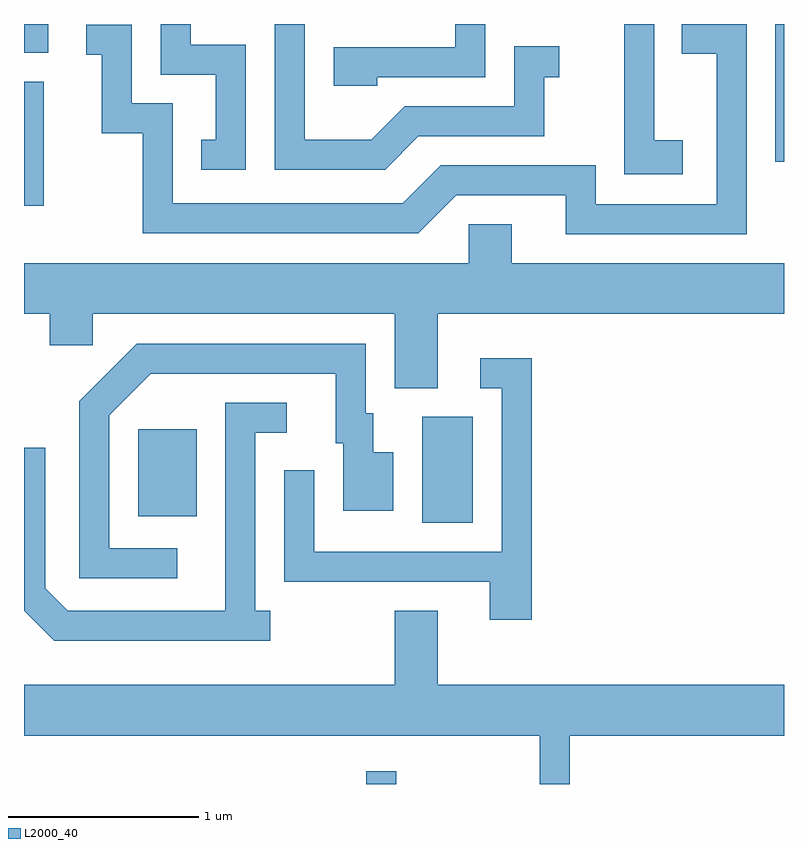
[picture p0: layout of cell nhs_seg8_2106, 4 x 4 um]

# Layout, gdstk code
import gdstk
lib = gdstk.Library(unit=1e-6, precision=1e-09)
def R(c, l, rs):  # rectangles x0, y0, x1, y1
    for r in rs: c.add(gdstk.rectangle(r[:2], r[2:], *l))
def P(c, l, *ps):  # polygons
    for p in ps: c.add(gdstk.Polygon(p, *l))
L2000_40 = (2000, 40)

nhs_seg8_2106 = lib.new_cell('nhs_seg8_2106')
R(nhs_seg8_2106, L2000_40, [(249.411,1878.342,249.569,1878.408), (249.706,1879.716,249.974,1880.274), (248.211,1879.751,248.519,1880.209), (247.611,1881.386,247.714,1882.039), (251.566,1881.616,251.611,1882.342), (247.611,1882.191,247.738,1882.342)])
P(nhs_seg8_2106, L2000_40, [(251.414,1882.342),(251.073,1882.342),(251.073,1882.186),(251.256,1882.186),(251.256,1881.394),(250.619,1881.394),(250.619,1881.599),(249.804,1881.599),(249.604,1881.399),(248.394,1881.399),(248.394,1881.924),(248.179,1881.924),(248.179,1882.339),(247.938,1882.339),(247.938,1882.181),(248.021,1882.181),(248.021,1881.766),(248.236,1881.766),(248.236,1881.241),(249.687,1881.241),(249.887,1881.441),(250.461,1881.441),(250.461,1881.236),(251.414,1881.236)],
  [(249.687,1881.751),(250.349,1881.751),(250.349,1882.061),(250.428,1882.061),(250.428,1882.224),(250.191,1882.224),(250.191,1881.909),(249.614,1881.909),(249.439,1881.734),(249.089,1881.734),(249.089,1882.342),(248.931,1882.342),(248.931,1881.576),(249.512,1881.576)],
  [(251.079,1881.729),(250.929,1881.729),(250.929,1882.342),(250.771,1882.342),(250.771,1881.551),(251.079,1881.551)],
  [(249.469,1882.061),(250.039,1882.061),(250.039,1882.342),(249.881,1882.342),(249.881,1882.219),(249.241,1882.219),(249.241,1882.016),(249.469,1882.016)],
  [(248.779,1882.234),(248.489,1882.234),(248.489,1882.342),(248.331,1882.342),(248.331,1882.076),(248.621,1882.076),(248.621,1881.734),(248.543,1881.734),(248.543,1881.576),(248.779,1881.576)],
  [(249.789,1880.816),(251.611,1880.816),(251.611,1881.084),(250.179,1881.084),(250.179,1881.289),(249.951,1881.289),(249.951,1881.084),(247.611,1881.084),(247.611,1880.816),(247.746,1880.816),(247.746,1880.651),(247.974,1880.651),(247.974,1880.816),(249.561,1880.816),(249.561,1880.426),(249.789,1880.426)],
  [(248.418,1879.584),(248.059,1879.584),(248.059,1880.284),(248.277,1880.501),(249.251,1880.501),(249.251,1880.136),(249.291,1880.136),(249.291,1879.781),(249.554,1879.781),(249.554,1880.089),(249.449,1880.089),(249.449,1880.294),(249.409,1880.294),(249.409,1880.659),(248.204,1880.659),(247.901,1880.357),(247.901,1879.426),(248.418,1879.426)],
  [(250.284,1880.584),(250.013,1880.584),(250.013,1880.426),(250.126,1880.426),(250.126,1879.564),(249.139,1879.564),(249.139,1879.993),(248.981,1879.993),(248.981,1879.406),(250.061,1879.406),(250.061,1879.206),(250.284,1879.206)],
  [(248.908,1879.254),(248.829,1879.254),(248.829,1880.191),(248.993,1880.191),(248.993,1880.349),(248.671,1880.349),(248.671,1879.254),(247.842,1879.254),(247.724,1879.372),(247.724,1880.113),(247.611,1880.113),(247.611,1879.254),(247.769,1879.096),(248.908,1879.096)],
  [(250.484,1878.596),(251.611,1878.596),(251.611,1878.864),(249.789,1878.864),(249.789,1879.254),(249.561,1879.254),(249.561,1878.864),(247.611,1878.864),(247.611,1878.596),(250.326,1878.596),(250.326,1878.342),(250.484,1878.342)])

lib.write_gds('nhs_seg8_2106.gds')
